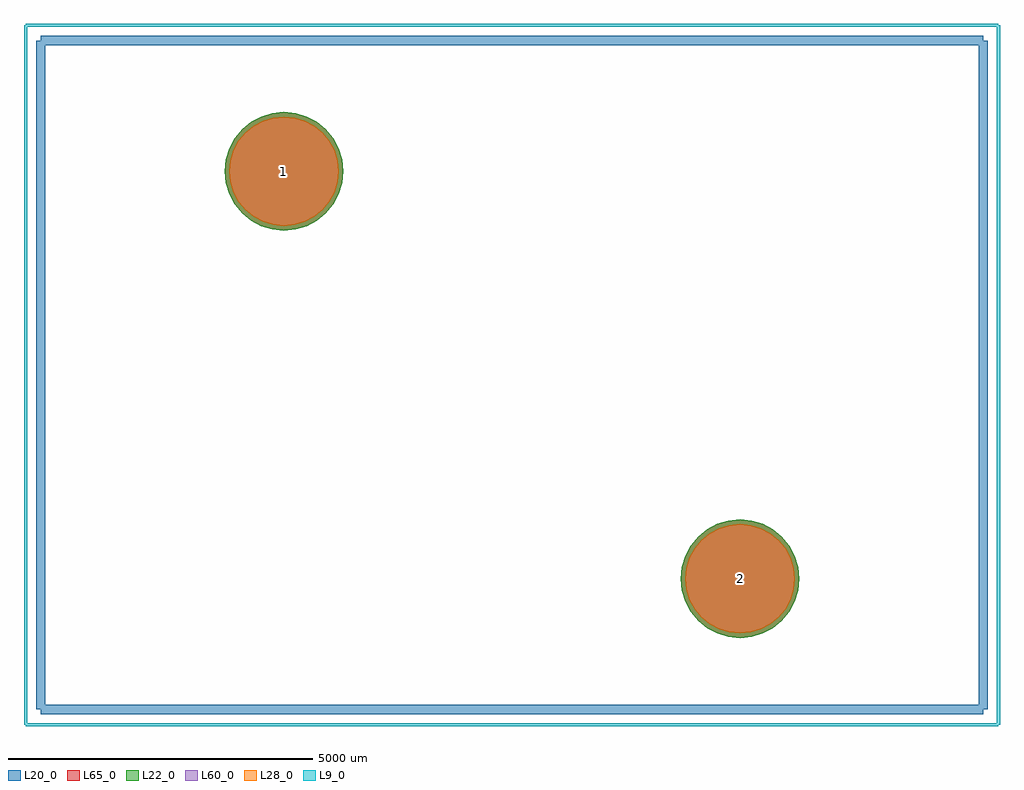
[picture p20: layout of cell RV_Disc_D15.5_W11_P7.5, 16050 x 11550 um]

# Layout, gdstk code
import gdstk
lib = gdstk.Library(unit=1e-6, precision=1e-09)
def P(c, l, *ps):  # polygons
    for p in ps: c.add(gdstk.Polygon(p, *l))
L9_0 = (9, 0)
L20_0 = (20, 0)
L22_0 = (22, 0)
L28_0 = (28, 0)
L60_0 = (60, 0)
L65_0 = (65, 0)

rv_disc_d15_5_w11_p7_5 = lib.new_cell('RV_Disc_D15.5_W11_P7.5')
P(rv_disc_d15_5_w11_p7_5, L22_0, [(8475,-6700),(8456.266,-6509.787),(8400.783,-6326.884),(8310.683,-6158.319),(8189.429,-6010.571),(8041.681,-5889.317),(7873.116,-5799.217),(7690.213,-5743.734),(7500,-5725),(7309.787,-5743.734),(7126.884,-5799.217),(6958.319,-5889.317),(6810.571,-6010.571),(6689.317,-6158.319),(6599.217,-6326.884),(6543.734,-6509.787),(6525,-6700),(6543.734,-6890.213),(6599.217,-7073.116),(6689.317,-7241.681),(6810.571,-7389.429),(6958.319,-7510.683),(7126.884,-7600.783),(7309.787,-7656.266),(7500,-7675),(7690.213,-7656.266),(7873.116,-7600.783),(8041.681,-7510.683),(8189.429,-7389.429),(8310.683,-7241.681),(8400.783,-7073.116),(8456.266,-6890.213)],
  [(975,0),(956.266,190.213),(900.783,373.116),(810.683,541.681),(689.429,689.429),(541.681,810.683),(373.116,900.783),(190.213,956.266),(0,975),(-190.213,956.266),(-373.116,900.783),(-541.681,810.683),(-689.429,689.429),(-810.683,541.681),(-900.783,373.116),(-956.266,190.213),(-975,0),(-956.266,-190.213),(-900.783,-373.116),(-810.683,-541.681),(-689.429,-689.429),(-541.681,-810.683),(-373.116,-900.783),(-190.213,-956.266),(0,-975),(190.213,-956.266),(373.116,-900.783),(541.681,-810.683),(689.429,-689.429),(810.683,-541.681),(900.783,-373.116),(956.266,-190.213)])
P(rv_disc_d15_5_w11_p7_5, L28_0, [(8400,-6700),(8382.707,-6524.419),(8331.492,-6355.585),(8248.323,-6199.987),(8136.396,-6063.604),(8000.013,-5951.677),(7844.415,-5868.508),(7675.581,-5817.293),(7500,-5800),(7324.419,-5817.293),(7155.585,-5868.508),(6999.987,-5951.677),(6863.604,-6063.604),(6751.677,-6199.987),(6668.508,-6355.585),(6617.293,-6524.419),(6600,-6700),(6617.293,-6875.581),(6668.508,-7044.415),(6751.677,-7200.013),(6863.604,-7336.396),(6999.987,-7448.323),(7155.585,-7531.492),(7324.419,-7582.707),(7500,-7600),(7675.581,-7582.707),(7844.415,-7531.492),(8000.013,-7448.323),(8136.396,-7336.396),(8248.323,-7200.013),(8331.492,-7044.415),(8382.707,-6875.581)],
  [(900,0),(882.707,175.581),(831.492,344.415),(748.323,500.013),(636.396,636.396),(500.013,748.323),(344.415,831.492),(175.581,882.707),(0,900),(-175.581,882.707),(-344.415,831.492),(-500.013,748.323),(-636.396,636.396),(-748.323,500.013),(-831.492,344.415),(-882.707,175.581),(-900,0),(-882.707,-175.581),(-831.492,-344.415),(-748.323,-500.013),(-636.396,-636.396),(-500.013,-748.323),(-344.415,-831.492),(-175.581,-882.707),(0,-900),(175.581,-882.707),(344.415,-831.492),(500.013,-748.323),(636.396,-636.396),(748.323,-500.013),(831.492,-344.415),(882.707,-175.581)])
P(rv_disc_d15_5_w11_p7_5, L60_0, [(8400,-6700),(8382.707,-6524.419),(8331.492,-6355.585),(8248.323,-6199.987),(8136.396,-6063.604),(8000.013,-5951.677),(7844.415,-5868.508),(7675.581,-5817.293),(7500,-5800),(7324.419,-5817.293),(7155.585,-5868.508),(6999.987,-5951.677),(6863.604,-6063.604),(6751.677,-6199.987),(6668.508,-6355.585),(6617.293,-6524.419),(6600,-6700),(6617.293,-6875.581),(6668.508,-7044.415),(6751.677,-7200.013),(6863.604,-7336.396),(6999.987,-7448.323),(7155.585,-7531.492),(7324.419,-7582.707),(7500,-7600),(7675.581,-7582.707),(7844.415,-7531.492),(8000.013,-7448.323),(8136.396,-7336.396),(8248.323,-7200.013),(8331.492,-7044.415),(8382.707,-6875.581)],
  [(900,0),(882.707,175.581),(831.492,344.415),(748.323,500.013),(636.396,636.396),(500.013,748.323),(344.415,831.492),(175.581,882.707),(0,900),(-175.581,882.707),(-344.415,831.492),(-500.013,748.323),(-636.396,636.396),(-748.323,500.013),(-831.492,344.415),(-882.707,175.581),(-900,0),(-882.707,-175.581),(-831.492,-344.415),(-748.323,-500.013),(-636.396,-636.396),(-500.013,-748.323),(-344.415,-831.492),(-175.581,-882.707),(0,-900),(175.581,-882.707),(344.415,-831.492),(500.013,-748.323),(636.396,-636.396),(748.323,-500.013),(831.492,-344.415),(882.707,-175.581)])
P(rv_disc_d15_5_w11_p7_5, L65_0, [(8475,-6700),(8456.266,-6509.787),(8400.783,-6326.884),(8310.683,-6158.319),(8189.429,-6010.571),(8041.681,-5889.317),(7873.116,-5799.217),(7690.213,-5743.734),(7500,-5725),(7309.787,-5743.734),(7126.884,-5799.217),(6958.319,-5889.317),(6810.571,-6010.571),(6689.317,-6158.319),(6599.217,-6326.884),(6543.734,-6509.787),(6525,-6700),(6543.734,-6890.213),(6599.217,-7073.116),(6689.317,-7241.681),(6810.571,-7389.429),(6958.319,-7510.683),(7126.884,-7600.783),(7309.787,-7656.266),(7500,-7675),(7690.213,-7656.266),(7873.116,-7600.783),(8041.681,-7510.683),(8189.429,-7389.429),(8310.683,-7241.681),(8400.783,-7073.116),(8456.266,-6890.213)],
  [(975,0),(956.266,190.213),(900.783,373.116),(810.683,541.681),(689.429,689.429),(541.681,810.683),(373.116,900.783),(190.213,956.266),(0,975),(-190.213,956.266),(-373.116,900.783),(-541.681,810.683),(-689.429,689.429),(-810.683,541.681),(-900.783,373.116),(-956.266,190.213),(-975,0),(-956.266,-190.213),(-900.783,-373.116),(-810.683,-541.681),(-689.429,-689.429),(-541.681,-810.683),(-373.116,-900.783),(-190.213,-956.266),(0,-975),(190.213,-956.266),(373.116,-900.783),(541.681,-810.683),(689.429,-689.429),(810.683,-541.681),(900.783,-373.116),(956.266,-190.213)])
rv_disc_d15_5_w11_p7_5.add(gdstk.FlexPath([(-4000,2150),(-4000,-8850)], 149.998, ends="flush", simple_path=True, layer=20, datatype=0))  # L20_0
rv_disc_d15_5_w11_p7_5.add(gdstk.FlexPath([(11500,2150),(11500,-8850)], 149.998, ends="flush", simple_path=True, layer=20, datatype=0))  # L20_0
rv_disc_d15_5_w11_p7_5.add(gdstk.FlexPath([(-4000,2150),(11500,2150)], 149.998, ends="flush", simple_path=True, layer=20, datatype=0))  # L20_0
rv_disc_d15_5_w11_p7_5.add(gdstk.FlexPath([(-4000,-8850),(11500,-8850)], 149.998, ends="flush", simple_path=True, layer=20, datatype=0))  # L20_0
rv_disc_d15_5_w11_p7_5.add(gdstk.FlexPath([(-4250,2400),(-4250,-9100)], 50, ends="flush", simple_path=True, layer=9, datatype=0))  # L9_0
rv_disc_d15_5_w11_p7_5.add(gdstk.FlexPath([(11750,2400),(11750,-9100)], 50, ends="flush", simple_path=True, layer=9, datatype=0))  # L9_0
rv_disc_d15_5_w11_p7_5.add(gdstk.FlexPath([(-4250,2400),(11750,2400)], 50, ends="flush", simple_path=True, layer=9, datatype=0))  # L9_0
rv_disc_d15_5_w11_p7_5.add(gdstk.FlexPath([(-4250,-9100),(11750,-9100)], 50, ends="flush", simple_path=True, layer=9, datatype=0))  # L9_0
rv_disc_d15_5_w11_p7_5.add(gdstk.Label('2', (7500,-6700), layer=28, texttype=0))
rv_disc_d15_5_w11_p7_5.add(gdstk.Label('1', (0,0), layer=28, texttype=0))
rv_disc_d15_5_w11_p7_5.add(gdstk.Label('type', (3750,3150), layer=9, texttype=0))
rv_disc_d15_5_w11_p7_5.add(gdstk.Label('devicename', (3750,-9850), layer=9, texttype=0))

lib.write_gds('RV_Disc_D15.5_W11_P7.5.gds')
